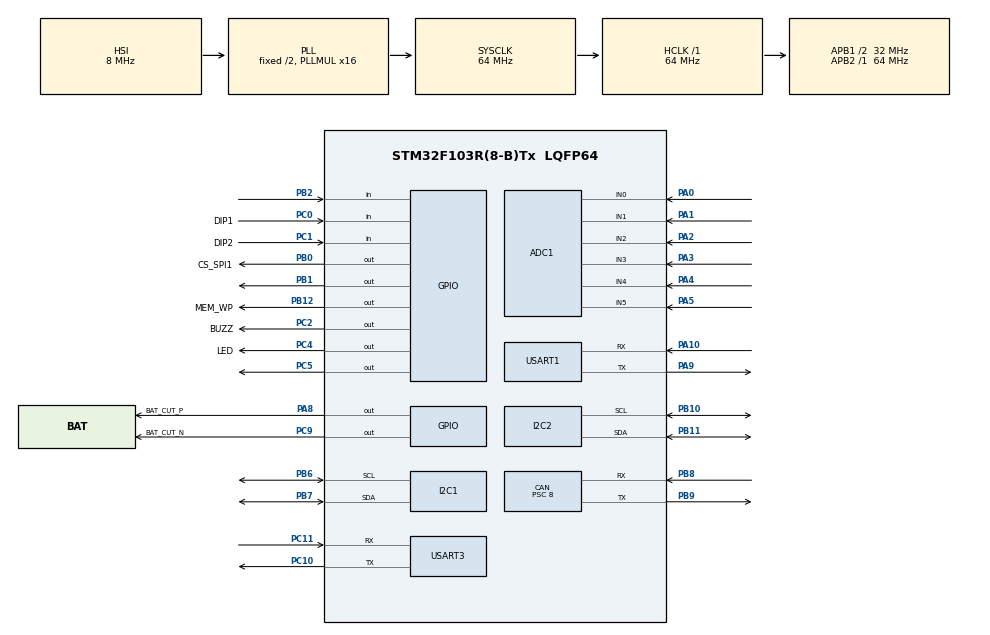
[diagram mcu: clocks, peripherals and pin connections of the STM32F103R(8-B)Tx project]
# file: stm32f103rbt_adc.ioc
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ADC1.Channel-0\#ChannelRegularConversion=ADC_CHANNEL_0
ADC1.Channel-1\#ChannelRegularConversion=ADC_CHANNEL_5
ADC1.Channel-2\#ChannelRegularConversion=ADC_CHANNEL_1
ADC1.Channel-3\#ChannelRegularConversion=ADC_CHANNEL_2
ADC1.Channel-4\#ChannelRegularConversion=ADC_CHANNEL_3
ADC1.Channel-5\#ChannelRegularConversion=ADC_CHANNEL_4
ADC1.ContinuousConvMode=ENABLE
ADC1.NbrOfConversion=6
ADC1.NbrOfConversionFlag=1
ADC1.Rank-0\#ChannelRegularConversion=1
ADC1.Rank-1\#ChannelRegularConversion=2
ADC1.Rank-2\#ChannelRegularConversion=3
ADC1.Rank-3\#ChannelRegularConversion=4
ADC1.Rank-4\#ChannelRegularConversion=5
ADC1.Rank-5\#ChannelRegularConversion=6
ADC1.SamplingTime-0\#ChannelRegularConversion=ADC_SAMPLETIME_239CYCLES_5
ADC1.SamplingTime-1\#ChannelRegularConversion=ADC_SAMPLETIME_239CYCLES_5
ADC1.SamplingTime-2\#ChannelRegularConversion=ADC_SAMPLETIME_239CYCLES_5
ADC1.SamplingTime-3\#ChannelRegularConversion=ADC_SAMPLETIME_239CYCLES_5
ADC1.SamplingTime-4\#ChannelRegularConversion=ADC_SAMPLETIME_71CYCLES_5
ADC1.SamplingTime-5\#ChannelRegularConversion=ADC_SAMPLETIME_71CYCLES_5
ADC1.master=1
CAN.ABOM=ENABLE
CAN.BS1=CAN_BS1_6TQ
CAN.CalculateBaudRate=500000
CAN.CalculateTimeBit=2000.00
CAN.CalculateTimeQuantum=250.0
CAN.Prescaler=8
Dma.ADC1.0.Direction=DMA_PERIPH_TO_MEMORY
Dma.ADC1.0.Instance=DMA1_Channel1
Dma.ADC1.0.MemDataAlignment=DMA_MDATAALIGN_HALFWORD
Dma.ADC1.0.MemInc=DMA_MINC_ENABLE
Dma.ADC1.0.Mode=DMA_CIRCULAR
Dma.ADC1.0.PeriphDataAlignment=DMA_PDATAALIGN_HALFWORD
Dma.ADC1.0.PeriphInc=DMA_PINC_DISABLE
Dma.ADC1.0.Priority=DMA_PRIORITY_LOW
Dma.Request0=ADC1
I2C1.I2C_Mode=I2C_Fast
IWDG.Prescaler=IWDG_PRESCALER_128
Mcu.Family=STM32F1
Mcu.Name=STM32F103R(8-B)Tx
Mcu.Package=LQFP64
NVIC.DMA1_Channel1_IRQn=true\:0\:0\:false\:false\:true\:false\:true
NVIC.PriorityGroup=NVIC_PRIORITYGROUP_4
NVIC.TIM2_IRQn=true\:2\:0\:true\:false\:true\:true\:true
NVIC.TIM3_IRQn=true\:1\:0\:true\:false\:true\:true\:true
NVIC.USB_LP_CAN1_RX0_IRQn=true\:0\:0\:false\:false\:true\:true\:true
PA0-WKUP.Signal=ADCx_IN0
PA1.Signal=ADCx_IN1
PA10.Mode=Asynchronous
PA10.Signal=USART1_RX
PA13.Mode=Serial_Wire
PA13.Signal=SYS_JTMS-SWDIO
PA14.Mode=Serial_Wire
PA14.Signal=SYS_JTCK-SWCLK
PA2.Signal=ADCx_IN2
PA3.Signal=ADCx_IN3
PA4.Signal=ADCx_IN4
PA5.Signal=ADCx_IN5
PA8.GPIO_Label=BAT_CUT_P
PA8.Signal=GPIO_Output
PA9.Mode=Asynchronous
PA9.Signal=USART1_TX
PB0.GPIO_Label=CS_SPI1
PB0.Signal=GPIO_Output
PB1.Signal=GPIO_Output
PB10.Mode=I2C
PB10.Signal=I2C2_SCL
PB11.Mode=I2C
PB11.Signal=I2C2_SDA
PB12.GPIO_Label=MEM_WP
PB12.Signal=GPIO_Output
PB2.Signal=GPIO_Input
PB6.Mode=I2C
PB6.Signal=I2C1_SCL
PB7.Mode=I2C
PB7.Signal=I2C1_SDA
PB8.Mode=CAN_Activate
PB8.Signal=CAN_RX
PB9.Mode=CAN_Activate
PB9.Signal=CAN_TX
PC0.GPIO_Label=DIP1
PC0.GPIO_PuPd=GPIO_PULLDOWN
PC0.Signal=GPIO_Input
PC1.GPIO_Label=DIP2
PC1.GPIO_PuPd=GPIO_PULLDOWN
PC1.Signal=GPIO_Input
PC10.Mode=Asynchronous
PC10.Signal=USART3_TX
PC11.Mode=Asynchronous
PC11.Signal=USART3_RX
PC2.GPIO_Label=BUZZ
PC2.Signal=GPIO_Output
PC4.GPIO_Label=LED
PC4.Signal=GPIO_Output
PC5.Signal=GPIO_Output
PC9.GPIO_Label=BAT_CUT_N
PC9.Signal=GPIO_Output
ProjectManager.HeapSize=0x200
ProjectManager.StackSize=0x400
ProjectManager.TargetToolchain=STM32CubeIDE
RCC.ADCPresc=RCC_ADCPCLK2_DIV6
RCC.AHBFreq_Value=64000000
RCC.APB1CLKDivider=RCC_HCLK_DIV2
RCC.APB1Freq_Value=32000000
RCC.APB1TimFreq_Value=64000000
RCC.APB2Freq_Value=64000000
RCC.APB2TimFreq_Value=64000000
RCC.HCLKFreq_Value=64000000
RCC.PLLMUL=RCC_PLL_MUL16
RCC.SYSCLKFreq_VALUE=64000000
RCC.SYSCLKSource=RCC_SYSCLKSOURCE_PLLCLK
RCC.USBFreq_Value=64000000
SH.ADCx_IN0.0=ADC1_IN0,IN0
SH.ADCx_IN1.0=ADC1_IN1,IN1
SH.ADCx_IN2.0=ADC1_IN2,IN2
SH.ADCx_IN3.0=ADC1_IN3,IN3
SH.ADCx_IN4.0=ADC1_IN4,IN4
SH.ADCx_IN5.0=ADC1_IN5,IN5
TIM2.Period=999
TIM2.Prescaler=63
TIM3.Period=99
TIM3.Prescaler=63999
USART1.VirtualMode=VM_ASYNC
USART3.VirtualMode=VM_ASYNC
VP_IWDG_VS_IWDG.Mode=IWDG_Activate
VP_TIM2_VS_ClockSourceINT.Mode=Internal
VP_TIM3_VS_ClockSourceINT.Mode=Internal
board=custom

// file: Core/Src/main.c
/* USER CODE BEGIN Header */
/**
  ******************************************************************************
  * @file           : main.c
  * @brief          : Main program body
  ******************************************************************************
  * @attention
  *
  * <h2><center>&copy; Copyright (c) 2019 STMicroelectronics.
  * All rights reserved.</center></h2>
  *
  * This software component is licensed by ST under BSD 3-Clause license,
  * the "License"; You may not use this file except in compliance with the
  * License. You may obtain a copy of the License at:
  *                        opensource.org/licenses/BSD-3-Clause
  *
  ******************************************************************************
  */
/* USER CODE END Header */
#include "main.h"
#include "adc.h"
#include "can.h"
#include "dma.h"
#include "i2c.h"
#include "iwdg.h"
#include "tim.h"
#include "usart.h"
#include "gpio.h"

/* USER CODE BEGIN Includes */
#include "ssd1306.h"
#include "stdio.h"
#include "string.h"
#include "stdlib.h"
#include <ctype.h>
#include "Battery_Charge_Discharge.h"
#include "CANbus.h"
#include "powermeter_ade7880.h"
#include "fram.h"
#include "eeprom.h"
/* USER CODE END Includes */

/* USER CODE BEGIN PV */
uint16_t adc_val[8];

char pesan[20], lower_UNIQUE_Code[20], UPPER_UNIQUE_Code[20];

int test_tim2;
extern float v_datadigi,i_datadigi,vn_datadigi,ref_datadigi;
extern float VBATT, IBATT;

float Pack_SOC,	SOC_manipulasi, Delta_VCell,Bat_Pow_Out;
float Pack_Cap=21.116;//hasil
uint16_t LifeTime;
uint8_t BATT_State;
float persen_imbalance;
//test git
extern float AH_Consumption, AH_Total;

extern float Suhu_T1,Suhu_T2,Suhu_T3,Suhu_T4;

extern float T_Under_trip, T_trip_cycle;
extern uint8_t flag_trip_undervoltage;

extern uint8_t flag_trip_overtemperature;

extern float T_I_Over_trip,
			T_I_Over_trip_cycle,
			Isc,Vsc;
extern float SOC_manipulasi;
extern uint32_t cek_CC;

char buffer_uart[512];

uint8_t BATT_Start_Up=0;

uint16_t vcell_15data_digi[15];
float vcell_15data[15];
float v_cell_tot;
extern uint16_t balance_status;

int ij;

extern uint8_t fault_code,last_fault_code;
uint8_t datain_fram=119, dataout_fram;

uint8_t Flag_Battery_Locked_for_Ship,Flag_Force_Balance;

uint8_t flag_start_shutdown, BMS_mode;

uint8_t cmd4[2];

extern float minus_offset[15];

extern float OFFSET_SENSOR_ARUS,IBATT_for_offset_cal;
/* USER CODE END PV */

void SystemClock_Config(void);
/* USER CODE BEGIN PFP */
void BMS_ScreenMode_Standby(void);
void BMS_ScreenMode_RUN(void);
void BMS_ScreenMode_ForceBalance(void);
void BMS_ScreenMode_Locked_Ship(void);
void Calc_vcell_tot(void);
/* USER CODE END PFP */

int main(void)
{

  /* MCU Configuration--------------------------------------------------------*/

  /* Reset of all peripherals, Initializes the Flash interface and the Systick. */
  HAL_Init();

  /* Configure the system clock */
  SystemClock_Config();

  /* USER CODE BEGIN SysInit */
  //BMS_CAN_Config();
   HAL_FLASH_Unlock();

  /* USER CODE END SysInit */

  /* Initialize all configured peripherals */
  MX_GPIO_Init();
  MX_DMA_Init();
  MX_ADC1_Init();
  MX_CAN_Init();
  MX_I2C2_Init();
  MX_USART1_UART_Init();
  MX_USART3_UART_Init();
  MX_IWDG_Init();
  MX_TIM2_Init();
  MX_TIM3_Init();
  MX_I2C1_Init();
  /* USER CODE BEGIN 2 */
  //USART3 untuk RS485, tidak digunakan untuk BOARD v1.

  ltc6812_GPIO_Config();
  ltc6812_SPIInit();

  HAL_Delay(10);
  read_v_15cell(vcell_15data_digi, vcell_15data);
  for(ij=0,v_cell_tot=0;ij<15;ij++)
  {
 	v_cell_tot+=vcell_15data[ij];
  }
  HAL_Delay(10);

  BMS_CAN_Config();

  BMS_ON_InitBeep();

  BATT_Start_Up=1;

  HAL_Delay(1000);

  flag_start_shutdown=0;

  /* USER CODE END 2 */

  /* Infinite loop */
  while (1)
  {

    /* USER CODE BEGIN 3 */
	  if(DIP1 && !DIP2)			BMS_ScreenMode_ForceBalance();		//Mode Force Balancing
	  else if(!DIP1 && DIP2) 	BMS_ScreenMode_Locked_Ship();		//Mode Shipping
	  else if(DIP1 && DIP2)		BMS_ScreenMode_RUN();				//MODE RUN
	  else						BMS_ScreenMode_Standby();			//Mode Standby

	  HAL_IWDG_Refresh(&hiwdg);
	  read_v_15cell(vcell_15data_digi, vcell_15data);

	  if(flag_start_shutdown==1)
	  {
		  	  //Read voltage of each cell (15cell)
		  	  if(BATT_State==STATE_CHARGE)
		  	  {
		  		 // LTC681x_MUTE_UNMUTE_emul(1);
//		  		  read_v_15cell(vcell_15data_digi, vcell_15data);
		  		  //LTC681x_MUTE_UNMUTE_emul(0);
		  	  }
		  	  else read_v_15cell(vcell_15data_digi, vcell_15data);

		  	  //Get Balancing Data
		  	  get_balance_status(vcell_15data);

		  	  // Balancing Process
		  	  if((IBATT<-0.1 && (v_cell_tot>VBATT_BALANCE_START)) || Flag_Force_Balance==1)     //arus charging 0.1 tidak perlu di balancing
		  	  {
		  		  LTC681x_balance_cell(balance_status);
		  	  }
		  	  else
		  	  {
		  			balance_status=0;
		  			LTC681x_balance_cell(0x0000);
		  	  }

		  	  //Calculate total Battery Voltage
		  	  Calc_vcell_tot();

			  //Mark that System operating
			  HAL_GPIO_TogglePin(LED_GPIO_Port,LED_Pin);
	  }

	  HAL_IWDG_Refresh(&hiwdg);
	  HAL_Delay(1);

//	  flag_start_shutdown=1;
//	  BMS_mode=1;
  }
  /* USER CODE END 3 */
}

void SystemClock_Config(void)
{
  RCC_OscInitTypeDef RCC_OscInitStruct = {0};
  RCC_ClkInitTypeDef RCC_ClkInitStruct = {0};
  RCC_PeriphCLKInitTypeDef PeriphClkInit = {0};

  /** Initializes the RCC Oscillators according to the specified parameters
  * in the RCC_OscInitTypeDef structure.
  */
  RCC_OscInitStruct.OscillatorType = RCC_OSCILLATORTYPE_HSI|RCC_OSCILLATORTYPE_LSI;
  RCC_OscInitStruct.HSIState = RCC_HSI_ON;
  RCC_OscInitStruct.HSICalibrationValue = RCC_HSICALIBRATION_DEFAULT;
  RCC_OscInitStruct.LSIState = RCC_LSI_ON;
  RCC_OscInitStruct.PLL.PLLState = RCC_PLL_ON;
  RCC_OscInitStruct.PLL.PLLSource = RCC_PLLSOURCE_HSI_DIV2;
  RCC_OscInitStruct.PLL.PLLMUL = RCC_PLL_MUL16;
  if (HAL_RCC_OscConfig(&RCC_OscInitStruct) != HAL_OK)
  {
    Error_Handler();
  }
  /** Initializes the CPU, AHB and APB buses clocks
  */
  RCC_ClkInitStruct.ClockType = RCC_CLOCKTYPE_HCLK|RCC_CLOCKTYPE_SYSCLK
                              |RCC_CLOCKTYPE_PCLK1|RCC_CLOCKTYPE_PCLK2;
  RCC_ClkInitStruct.SYSCLKSource = RCC_SYSCLKSOURCE_PLLCLK;
  RCC_ClkInitStruct.AHBCLKDivider = RCC_SYSCLK_DIV1;
  RCC_ClkInitStruct.APB1CLKDivider = RCC_HCLK_DIV2;
  RCC_ClkInitStruct.APB2CLKDivider = RCC_HCLK_DIV1;

  if (HAL_RCC_ClockConfig(&RCC_ClkInitStruct, FLASH_LATENCY_2) != HAL_OK)
  {
    Error_Handler();
  }
  PeriphClkInit.PeriphClockSelection = RCC_PERIPHCLK_ADC;
  PeriphClkInit.AdcClockSelection = RCC_ADCPCLK2_DIV6;
  if (HAL_RCCEx_PeriphCLKConfig(&PeriphClkInit) != HAL_OK)
  {
    Error_Handler();
  }
}

/* USER CODE BEGIN 4 */
void BMS_ON_InitBeep(void)
{
	itoa(UNIQUE_Code, lower_UNIQUE_Code, 16);
	int ii=0;
	while(ii<6){
		UPPER_UNIQUE_Code[ii] = toupper(lower_UNIQUE_Code[ii]);
		ii++;
	}
	HAL_ADC_Start_DMA(&hadc1, (uint32_t *) &adc_val, 6);

	SSD1306_Init();
	SSD1306_Fill(SSD1306_COLOR_BLACK);
	SSD1306_UpdateScreen();

	HAL_GPIO_WritePin(BUZZ_GPIO_Port, BUZZ_Pin, GPIO_PIN_SET);
	HAL_Delay(500);
	HAL_GPIO_TogglePin(BUZZ_GPIO_Port, BUZZ_Pin);
	HAL_Delay(500);
	HAL_GPIO_TogglePin(BUZZ_GPIO_Port, BUZZ_Pin);
	HAL_Delay(100);
	HAL_GPIO_TogglePin(BUZZ_GPIO_Port, BUZZ_Pin);
	HAL_Delay(100);
	HAL_GPIO_TogglePin(BUZZ_GPIO_Port, BUZZ_Pin);
	HAL_Delay(100);
	HAL_GPIO_TogglePin(BUZZ_GPIO_Port, BUZZ_Pin);
	HAL_Delay(100);

	sprintf(pesan,"BMS - Gen.V2");
	SSD1306_GotoXY(5,0);
	SSD1306_Puts(pesan, &Font_7x10, SSD1306_COLOR_WHITE);
	SSD1306_UpdateScreen();

	HAL_TIM_Base_Start_IT(&htim2);

	HAL_TIM_Base_Start_IT(&htim3);

	HAL_Delay(1000);

	BATT_State=STATE_STANDBY;
	Batt_Open_Mode();
	AH_Total=0;

}

void BMS_ScreenMode_Standby(void)
{
	 Flag_Battery_Locked_for_Ship=0;
	 Flag_Force_Balance=0;

	 SSD1306_Fill(SSD1306_COLOR_BLACK);
	 sprintf(pesan,"BMS - Gen.V2");
	 SSD1306_GotoXY(20,28);
	 SSD1306_Puts(pesan, &Font_7x10, SSD1306_COLOR_WHITE);
	 SSD1306_UpdateScreen();
	 Batt_Open_Mode();

	 HAL_Delay(1);
}

void BMS_ScreenMode_RUN(void)
{
	Flag_Battery_Locked_for_Ship=0;
	Flag_Force_Balance=0;

	if(flag_start_shutdown==0)
	{
		 SSD1306_Fill(SSD1306_COLOR_BLACK);
			 sprintf(pesan,"BMS - Gen.V2 - RUN");
			 SSD1306_GotoXY(0,18);
			 SSD1306_Puts(pesan, &Font_7x10, SSD1306_COLOR_WHITE);

			 sprintf(pesan,"SLEEP_STATE");
			 SSD1306_GotoXY(0,38);
			 SSD1306_Puts(pesan, &Font_7x10, SSD1306_COLOR_WHITE);
			 SSD1306_UpdateScreen();
			 HAL_GPIO_WritePin(LED_GPIO_Port, LED_Pin, 0);
			 Batt_Open_Mode();
			 flag_trip_overtemperature=OFF;
			 flag_trip_undertemperature=OFF;
			 flag_trip_SOCOverDischarge=OFF;
			 flag_trip_SOCOverCharge=OFF;			//di tiada kan..!
			 flag_trip_undervoltage=OFF;
			 flag_trip_overvoltage=OFF;
			 flag_trip_overcurrentdischarge=OFF;
			 flag_trip_overcurrentcharge=OFF;
			 flag_trip_shortcircuit=OFF;
			 flag_trip_systemfailure=OFF;
			 flag_trip_unbalance=OFF;
			 OFFSET_SENSOR_ARUS=IBATT_for_offset_cal;
	}
	else
	{
		SSD1306_Fill(SSD1306_COLOR_BLACK);
		HAL_GPIO_TogglePin(LED_GPIO_Port, LED_Pin);

		if(BATT_State==STATE_CHARGE)
		{
			sprintf(pesan,"RUN (C) - %s", UPPER_UNIQUE_Code);
			SSD1306_GotoXY(0,0);
			SSD1306_Puts(pesan, &Font_7x10, SSD1306_COLOR_WHITE);
		}
		else if(BATT_State==STATE_DISCHARGE)
		{
			sprintf(pesan,"RUN (D) - %s", UPPER_UNIQUE_Code);
			SSD1306_GotoXY(0,0);
			SSD1306_Puts(pesan, &Font_7x10, SSD1306_COLOR_WHITE);
		}
		else if(BATT_State==STATE_FULL_CHARGE_DISCHARGE)
		{
			sprintf(pesan,"BMS-RUN (Full C/D)");
			SSD1306_GotoXY(0,0);
			SSD1306_Puts(pesan, &Font_7x10, SSD1306_COLOR_WHITE);
		}
		else if(BATT_State==STATE_STANDBY)
		{
			sprintf(pesan,"BMS-RUN (Open)");
			SSD1306_GotoXY(0,0);
			SSD1306_Puts(pesan, &Font_7x10, SSD1306_COLOR_WHITE);
		}

		sprintf(pesan,"V=%6.2f I=%6.2f",VBATT,IBATT);
		SSD1306_GotoXY(0,10);
		SSD1306_Puts(pesan, &Font_7x10, SSD1306_COLOR_WHITE);
		sprintf(pesan,"T=%3.0f|%3.0f|%3.0f|%3.0f",Suhu_T1,Suhu_T2,Suhu_T3,Suhu_T4);
		SSD1306_GotoXY(0,20);
		SSD1306_Puts(pesan, &Font_7x10, SSD1306_COLOR_WHITE);
		sprintf(pesan,"C=%5.1f%%--%5.1f%%",Pack_SOC,SOC_manipulasi);
		SSD1306_GotoXY(0,30);
		SSD1306_Puts(pesan, &Font_7x10, SSD1306_COLOR_WHITE);
		sprintf(pesan,"B=%5d, %4.1f-%4.2f",balance_status,persen_imbalance, OFFSET_SENSOR_ARUS);
		SSD1306_GotoXY(0,40);
		SSD1306_Puts(pesan, &Font_7x10, SSD1306_COLOR_WHITE);

		sprintf(pesan,"%d-%d--%4.2f| %5.0f",fault_code,last_fault_code,Isc, AH_Total);
		SSD1306_GotoXY(0,50);
		SSD1306_Puts(pesan, &Font_7x10, SSD1306_COLOR_WHITE);

		SSD1306_UpdateScreen();

		if(BMS_mode==0) Batt_Open_Mode();
		else if(BMS_mode==1) Batt_Discharge_Mode();
		else if(BMS_mode==2) Batt_Charge_Mode();
		else if(BMS_mode==3) Batt_Full_CD_Mode();

	}

	HAL_Delay(1);
}

void BMS_ScreenMode_Locked_Ship(void)
{
	 Flag_Battery_Locked_for_Ship=1;
	 Flag_Force_Balance=0;

	 SSD1306_Fill(SSD1306_COLOR_BLACK);
	 sprintf(pesan,"BMS - Gen.V2");
	 SSD1306_GotoXY(20,18);
	 SSD1306_Puts(pesan, &Font_7x10, SSD1306_COLOR_WHITE);

	 sprintf(pesan,"Pack Ready Shipped");
	 SSD1306_GotoXY(0,38);
	 SSD1306_Puts(pesan, &Font_7x10, SSD1306_COLOR_WHITE);
	 SSD1306_UpdateScreen();
	 Batt_Open_Mode();
}

void BMS_ScreenMode_ForceBalance(void)
{
	Flag_Battery_Locked_for_Ship=0;
	Flag_Force_Balance=1;

	SSD1306_Fill(SSD1306_COLOR_BLACK);
	sprintf(pesan,"BMS - Gen.V2");
	SSD1306_GotoXY(20,0);
	SSD1306_Puts(pesan, &Font_7x10, SSD1306_COLOR_WHITE);

	sprintf(pesan,"Force Balance");
	SSD1306_GotoXY(0,10);
	SSD1306_Puts(pesan, &Font_7x10, SSD1306_COLOR_WHITE);

	sprintf(pesan,"B=%5d",balance_status);
	SSD1306_GotoXY(0,40);
	SSD1306_Puts(pesan, &Font_7x10, SSD1306_COLOR_WHITE);

	SSD1306_UpdateScreen();
	Batt_Open_Mode();
}

void Calc_vcell_tot(void)
{
	float v_cell_temporary;
	for(ij=0;ij<15;ij++)
	{
		v_cell_temporary+=vcell_15data[ij];
	}

	if(v_cell_temporary>10)
	{
		v_cell_tot=v_cell_temporary;
	}

}
/* USER CODE END 4 */

void Error_Handler(void)
{
}

/************************ (C) COPYRIGHT STMicroelectronics *****END OF FILE****/
